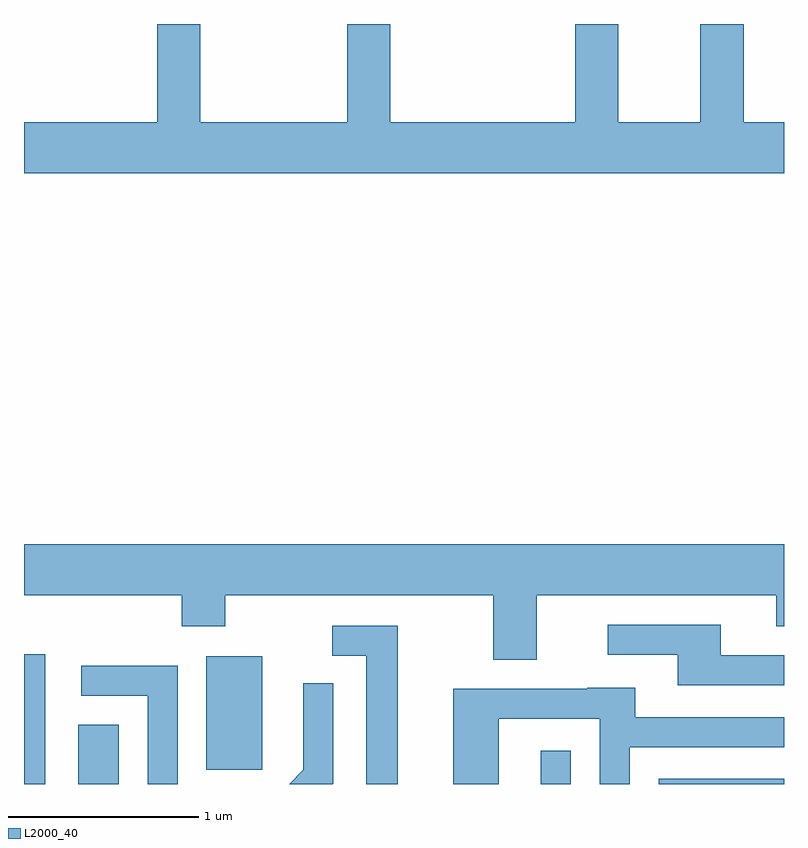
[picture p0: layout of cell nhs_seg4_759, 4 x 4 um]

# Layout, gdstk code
import gdstk
lib = gdstk.Library(unit=1e-6, precision=1e-09)
def R(c, l, rs):  # rectangles x0, y0, x1, y1
    for r in rs: c.add(gdstk.rectangle(r[:2], r[2:], *l))
def P(c, l, *ps):  # polygons
    for p in ps: c.add(gdstk.Polygon(p, *l))
L2000_40 = (2000, 40)

nhs_seg4_759 = lib.new_cell('nhs_seg4_759')
R(nhs_seg4_759, L2000_40, [(207.611,1275.982,207.724,1276.664), (207.896,1275.982,208.109,1276.294), (210.331,1275.982,210.489,1276.158), (210.951,1275.982,211.611,1276.009), (208.571,1276.056,208.864,1276.654)])
P(nhs_seg4_759, L2000_40, [(211.611,1279.464),(211.399,1279.464),(211.399,1279.982),(211.171,1279.982),(211.171,1279.464),(210.739,1279.464),(210.739,1279.982),(210.511,1279.982),(210.511,1279.464),(209.539,1279.464),(209.539,1279.982),(209.311,1279.982),(209.311,1279.464),(208.539,1279.464),(208.539,1279.982),(208.311,1279.982),(208.311,1279.464),(207.611,1279.464),(207.611,1279.196),(211.611,1279.196)],
  [(210.309,1276.976),(211.571,1276.976),(211.571,1276.811),(211.611,1276.811),(211.611,1277.244),(207.611,1277.244),(207.611,1276.976),(208.441,1276.976),(208.441,1276.811),(208.669,1276.811),(208.669,1276.976),(210.081,1276.976),(210.081,1276.636),(210.309,1276.636)],
  [(211.611,1276.659),(211.279,1276.659),(211.279,1276.819),(210.683,1276.819),(210.683,1276.661),(211.051,1276.661),(211.051,1276.501),(211.611,1276.501)],
  [(209.579,1276.814),(209.233,1276.814),(209.233,1276.656),(209.411,1276.656),(209.411,1275.982),(209.579,1275.982)],
  [(208.419,1276.604),(207.913,1276.604),(207.913,1276.446),(208.261,1276.446),(208.261,1275.982),(208.419,1275.982)],
  [(209.239,1275.984),(209.239,1276.513),(209.081,1276.513),(209.081,1276.057),(209.006,1275.982),(209.237,1275.982)],
  [(210.109,1276.326),(210.641,1276.326),(210.641,1275.982),(210.799,1275.982),(210.799,1276.176),(211.611,1276.176),(211.611,1276.334),(210.829,1276.334),(210.829,1276.489),(210.575,1276.489),(210.575,1276.484),(209.871,1276.484),(209.871,1275.982),(210.109,1275.982)])

lib.write_gds('nhs_seg4_759.gds')
